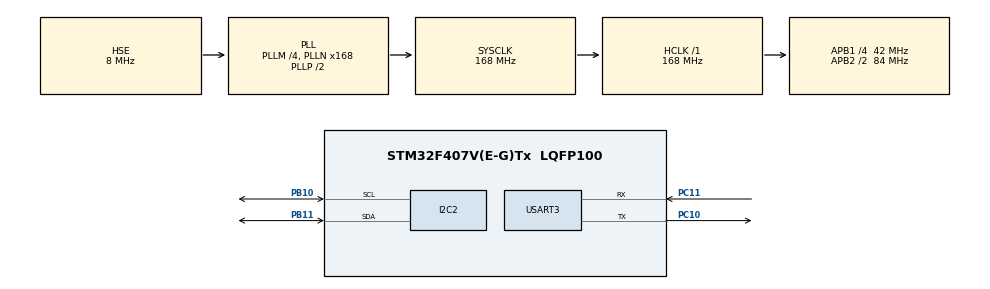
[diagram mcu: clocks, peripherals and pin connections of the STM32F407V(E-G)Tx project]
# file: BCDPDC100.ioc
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Mcu.Family=STM32F4
Mcu.Name=STM32F407V(E-G)Tx
Mcu.Package=LQFP100
NVIC.PriorityGroup=NVIC_PRIORITYGROUP_4
PB10.Mode=I2C
PB10.Signal=I2C2_SCL
PB11.Mode=I2C
PB11.Signal=I2C2_SDA
PC10.Mode=Asynchronous
PC10.Signal=USART3_TX
PC11.Mode=Asynchronous
PC11.Signal=USART3_RX
PH0-OSC_IN.Mode=HSE-External-Oscillator
PH0-OSC_IN.Signal=RCC_OSC_IN
PH1-OSC_OUT.Mode=HSE-External-Oscillator
PH1-OSC_OUT.Signal=RCC_OSC_OUT
ProjectManager.HeapSize=0x200
ProjectManager.StackSize=0x400
ProjectManager.TargetToolchain=MDK-ARM V5
RCC.48MHZClocksFreq_Value=84000000
RCC.AHBFreq_Value=168000000
RCC.APB1CLKDivider=RCC_HCLK_DIV4
RCC.APB1Freq_Value=42000000
RCC.APB1TimFreq_Value=84000000
RCC.APB2CLKDivider=RCC_HCLK_DIV2
RCC.APB2Freq_Value=84000000
RCC.APB2TimFreq_Value=168000000
RCC.CortexFreq_Value=168000000
RCC.HCLKFreq_Value=168000000
RCC.HSE_VALUE=8000000
RCC.HSI_VALUE=16000000
RCC.LSE_VALUE=32768
RCC.PLLM=4
RCC.PLLN=168
RCC.PLLSourceVirtual=RCC_PLLSOURCE_HSE
RCC.SYSCLKFreq_VALUE=168000000
RCC.SYSCLKSource=RCC_SYSCLKSOURCE_PLLCLK
RCC.VCOOutputFreq_Value=336000000
USART3.VirtualMode=VM_ASYNC
board=custom

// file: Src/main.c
/* USER CODE BEGIN Header */
/**
  ******************************************************************************
  * @file           : main.c
  * @brief          : Main program body
  ******************************************************************************
  ** This notice applies to any and all portions of this file
  * that are not between comment pairs USER CODE BEGIN and
  * USER CODE END. Other portions of this file, whether
  * inserted by the user or by software development tools
  * are owned by their respective copyright owners.
  *
  * COPYRIGHT(c) 2019 STMicroelectronics
  *
  * Redistribution and use in source and binary forms, with or without modification,
  * are permitted provided that the following conditions are met:
  *   1. Redistributions of source code must retain the above copyright notice,
  *      this list of conditions and the following disclaimer.
  *   2. Redistributions in binary form must reproduce the above copyright notice,
  *      this list of conditions and the following disclaimer in the documentation
  *      and/or other materials provided with the distribution.
  *   3. Neither the name of STMicroelectronics nor the names of its contributors
  *      may be used to endorse or promote products derived from this software
  *      without specific prior written permission.
  *
  * THIS SOFTWARE IS PROVIDED BY THE COPYRIGHT HOLDERS AND CONTRIBUTORS "AS IS"
  * AND ANY EXPRESS OR IMPLIED WARRANTIES, INCLUDING, BUT NOT LIMITED TO, THE
  * IMPLIED WARRANTIES OF MERCHANTABILITY AND FITNESS FOR A PARTICULAR PURPOSE ARE
  * DISCLAIMED. IN NO EVENT SHALL THE COPYRIGHT HOLDER OR CONTRIBUTORS BE LIABLE
  * FOR ANY DIRECT, INDIRECT, INCIDENTAL, SPECIAL, EXEMPLARY, OR CONSEQUENTIAL
  * DAMAGES (INCLUDING, BUT NOT LIMITED TO, PROCUREMENT OF SUBSTITUTE GOODS OR
  * SERVICES; LOSS OF USE, DATA, OR PROFITS; OR BUSINESS INTERRUPTION) HOWEVER
  * CAUSED AND ON ANY THEORY OF LIABILITY, WHETHER IN CONTRACT, STRICT LIABILITY,
  * OR TORT (INCLUDING NEGLIGENCE OR OTHERWISE) ARISING IN ANY WAY OUT OF THE USE
  * OF THIS SOFTWARE, EVEN IF ADVISED OF THE POSSIBILITY OF SUCH DAMAGE.
  *
  ******************************************************************************
  */
/* USER CODE END Header */

#include "main.h"

/* USER CODE BEGIN Includes */
#include <stdio.h>
#include "BCDPDC100.h"
/* USER CODE END Includes */

/* USER CODE BEGIN PD */
#define BCDPDC100_ADDR 0x39
/* USER CODE END PD */

I2C_HandleTypeDef hi2c2;

UART_HandleTypeDef huart3;

void SystemClock_Config(void);
static void MX_GPIO_Init(void);
static void MX_I2C2_Init(void);
static void MX_USART3_UART_Init(void);

/* USER CODE BEGIN 0 */
void sensorInitialize(void);
void readSensorData(void);
int fputc(int ch, FILE *f)
{
	HAL_UART_Transmit(&huart3, (uint8_t *)&ch, 1, 0xFFFF);

	return ch;
}
/* USER CODE END 0 */

int main(void)
{

  /* MCU Configuration--------------------------------------------------------*/

  /* Reset of all peripherals, Initializes the Flash interface and the Systick. */
  HAL_Init();

  /* Configure the system clock */
  SystemClock_Config();

  /* Initialize all configured peripherals */
  MX_GPIO_Init();
  MX_I2C2_Init();
  MX_USART3_UART_Init();
  /* USER CODE BEGIN 2 */
	sensorInitialize();
  /* USER CODE END 2 */

  /* Infinite loop */
  /* USER CODE BEGIN WHILE */
  while (1)
  {
		readSensorData();
		HAL_Delay(1000);
    /* USER CODE END WHILE */

  }
}

void SystemClock_Config(void)
{
  RCC_OscInitTypeDef RCC_OscInitStruct = {0};
  RCC_ClkInitTypeDef RCC_ClkInitStruct = {0};

  /**Configure the main internal regulator output voltage
  */
  __HAL_RCC_PWR_CLK_ENABLE();
  __HAL_PWR_VOLTAGESCALING_CONFIG(PWR_REGULATOR_VOLTAGE_SCALE1);
  /**Initializes the CPU, AHB and APB busses clocks
  */
  RCC_OscInitStruct.OscillatorType = RCC_OSCILLATORTYPE_HSE;
  RCC_OscInitStruct.HSEState = RCC_HSE_ON;
  RCC_OscInitStruct.PLL.PLLState = RCC_PLL_ON;
  RCC_OscInitStruct.PLL.PLLSource = RCC_PLLSOURCE_HSE;
  RCC_OscInitStruct.PLL.PLLM = 4;
  RCC_OscInitStruct.PLL.PLLN = 168;
  RCC_OscInitStruct.PLL.PLLP = RCC_PLLP_DIV2;
  RCC_OscInitStruct.PLL.PLLQ = 4;
  if (HAL_RCC_OscConfig(&RCC_OscInitStruct) != HAL_OK)
  {
    Error_Handler();
  }
  /**Initializes the CPU, AHB and APB busses clocks
  */
  RCC_ClkInitStruct.ClockType = RCC_CLOCKTYPE_HCLK|RCC_CLOCKTYPE_SYSCLK
                              |RCC_CLOCKTYPE_PCLK1|RCC_CLOCKTYPE_PCLK2;
  RCC_ClkInitStruct.SYSCLKSource = RCC_SYSCLKSOURCE_PLLCLK;
  RCC_ClkInitStruct.AHBCLKDivider = RCC_SYSCLK_DIV1;
  RCC_ClkInitStruct.APB1CLKDivider = RCC_HCLK_DIV4;
  RCC_ClkInitStruct.APB2CLKDivider = RCC_HCLK_DIV2;

  if (HAL_RCC_ClockConfig(&RCC_ClkInitStruct, FLASH_LATENCY_5) != HAL_OK)
  {
    Error_Handler();
  }
}

static void MX_I2C2_Init(void)
{

  hi2c2.Instance = I2C2;
  hi2c2.Init.ClockSpeed = 100000;
  hi2c2.Init.DutyCycle = I2C_DUTYCYCLE_2;
  hi2c2.Init.OwnAddress1 = 0;
  hi2c2.Init.AddressingMode = I2C_ADDRESSINGMODE_7BIT;
  hi2c2.Init.DualAddressMode = I2C_DUALADDRESS_DISABLE;
  hi2c2.Init.OwnAddress2 = 0;
  hi2c2.Init.GeneralCallMode = I2C_GENERALCALL_DISABLE;
  hi2c2.Init.NoStretchMode = I2C_NOSTRETCH_DISABLE;
  if (HAL_I2C_Init(&hi2c2) != HAL_OK)
  {
    Error_Handler();
  }

}

static void MX_USART3_UART_Init(void)
{

  huart3.Instance = USART3;
  huart3.Init.BaudRate = 115200;
  huart3.Init.WordLength = UART_WORDLENGTH_8B;
  huart3.Init.StopBits = UART_STOPBITS_1;
  huart3.Init.Parity = UART_PARITY_NONE;
  huart3.Init.Mode = UART_MODE_TX_RX;
  huart3.Init.HwFlowCtl = UART_HWCONTROL_NONE;
  huart3.Init.OverSampling = UART_OVERSAMPLING_16;
  if (HAL_UART_Init(&huart3) != HAL_OK)
  {
    Error_Handler();
  }

}

static void MX_GPIO_Init(void)
{

  /* GPIO Ports Clock Enable */
  __HAL_RCC_GPIOH_CLK_ENABLE();
  __HAL_RCC_GPIOB_CLK_ENABLE();
  __HAL_RCC_GPIOC_CLK_ENABLE();

}

/* USER CODE BEGIN 4 */
void sensorInitialize(void){
  printf("[BCDPDC100] Digital Proximity Detector Enabled\n");

	BCDPDC100_init(BCDPDC100_ADDR, &hi2c2);
  BCDPDC100_powerOn();
  BCDPDC100_enableInterruptMask();
  BCDPDC100_enableWait();
  BCDPDC100_disableProximity();
  BCDPDC100_writeAtime(0xFF);
  BCDPDC100_writePtime(0xFF);
  BCDPDC100_writeWtime(0xFF);
  BCDPDC100_setLedPower(BCDPDC100_LED100P);
  BCDPDC100_setDiode(BCDPDC100_BOTH);
  BCDPDC100_setPpulse(32);
  BCDPDC100_setLowThresold(0);
  BCDPDC100_setHighThresold(1000);
  BCDPDC100_setPersistence(10);
  BCDPDC100_enableProximity();

  printf("Initialized BC Sensors Series\n");
  printf("\n");
  printf("\n");
}

void readSensorData()
{
  printf("[BCDPDC100] Proximity ADC : %d\n", BCDPDC100_readProximityAdc());

  //Proximity inturrupt
 if(BCDPDC100_readInterrupt())
  {
    printf(" (proximity) ");
  }
    printf("\n");
}
/* USER CODE END 4 */

void Error_Handler(void)
{
}

/************************ (C) COPYRIGHT STMicroelectronics *****END OF FILE****/
